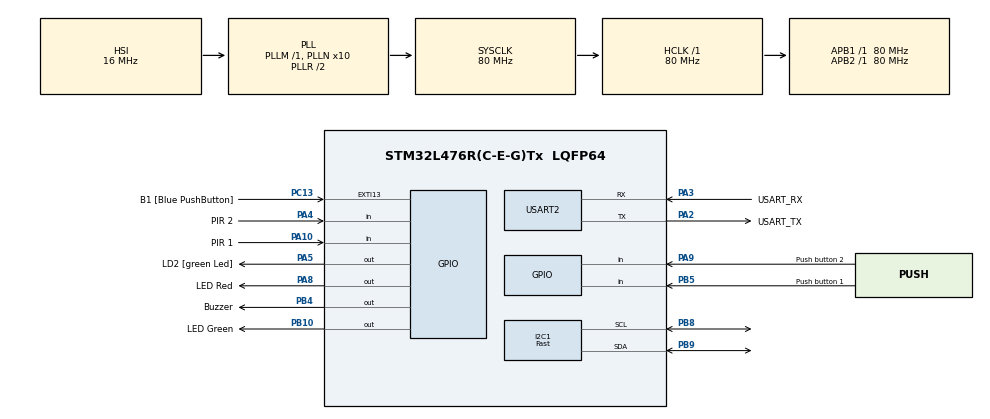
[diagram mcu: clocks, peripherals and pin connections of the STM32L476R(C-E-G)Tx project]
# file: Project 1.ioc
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I2C1.I2C_Speed_Mode=I2C_Fast
I2C1.Timing=0x00F12981
Mcu.Family=STM32L4
Mcu.Name=STM32L476R(C-E-G)Tx
Mcu.Package=LQFP64
NVIC.PriorityGroup=NVIC_PRIORITYGROUP_4
PA10.GPIO_Label=PIR 1
PA10.Signal=GPIO_Input
PA13\ (JTMS-SWDIO).GPIO_Label=TMS
PA13\ (JTMS-SWDIO).Mode=Serial_Wire
PA13\ (JTMS-SWDIO).Signal=SYS_JTMS-SWDIO
PA14\ (JTCK-SWCLK).GPIO_Label=TCK
PA14\ (JTCK-SWCLK).Mode=Serial_Wire
PA14\ (JTCK-SWCLK).Signal=SYS_JTCK-SWCLK
PA2.GPIO_Label=USART_TX
PA2.GPIO_Mode=GPIO_MODE_AF_PP
PA2.GPIO_PuPd=GPIO_NOPULL
PA2.GPIO_Speed=GPIO_SPEED_FREQ_VERY_HIGH
PA2.Mode=Asynchronous
PA2.Signal=USART2_TX
PA3.GPIO_Label=USART_RX
PA3.GPIO_Mode=GPIO_MODE_AF_PP
PA3.GPIO_PuPd=GPIO_NOPULL
PA3.GPIO_Speed=GPIO_SPEED_FREQ_VERY_HIGH
PA3.Mode=Asynchronous
PA3.Signal=USART2_RX
PA4.GPIO_Label=PIR 2
PA4.Signal=GPIO_Input
PA5.GPIO_Label=LD2 [green Led]
PA5.GPIO_ModeDefaultOutputPP=GPIO_MODE_OUTPUT_PP
PA5.GPIO_PuPd=GPIO_NOPULL
PA5.GPIO_Speed=GPIO_SPEED_FREQ_LOW
PA5.Signal=GPIO_Output
PA8.GPIO_Label=LED Red
PA8.Signal=GPIO_Output
PA9.GPIO_Label=Push button 2
PA9.GPIO_PuPd=GPIO_PULLUP
PA9.Signal=GPIO_Input
PB10.GPIO_Label=LED Green
PB10.Signal=GPIO_Output
PB3\ (JTDO-TRACESWO).GPIO_Label=SWO
PB3\ (JTDO-TRACESWO).Signal=SYS_JTDO-SWO
PB4\ (NJTRST).GPIO_Label=Buzzer
PB4\ (NJTRST).Signal=GPIO_Output
PB5.GPIO_Label=Push button 1
PB5.GPIO_PuPd=GPIO_PULLUP
PB5.Signal=GPIO_Input
PB8.GPIO_Pu=GPIO_NOPULL
PB8.Mode=I2C
PB8.Signal=I2C1_SCL
PB9.GPIO_Pu=GPIO_NOPULL
PB9.Mode=I2C
PB9.Signal=I2C1_SDA
PC13.GPIO_Label=B1 [Blue PushButton]
PC13.GPIO_ModeDefaultEXTI=GPIO_MODE_IT_FALLING
PC13.GPIO_PuPd=GPIO_NOPULL
PC13.Signal=GPXTI13
PC14-OSC32_IN\ (PC14).Mode=LSE-External-Oscillator
PC14-OSC32_IN\ (PC14).Signal=RCC_OSC32_IN
PC15-OSC32_OUT\ (PC15).Mode=LSE-External-Oscillator
PC15-OSC32_OUT\ (PC15).Signal=RCC_OSC32_OUT
PH0-OSC_IN\ (PH0).Signal=RCC_OSC_IN
PH1-OSC_OUT\ (PH1).Signal=RCC_OSC_OUT
ProjectManager.HeapSize=0x800
ProjectManager.StackSize=0x800
ProjectManager.TargetToolchain=STM32CubeIDE
RCC.ADCFreq_Value=64000000
RCC.AHBFreq_Value=80000000
RCC.APB1Freq_Value=80000000
RCC.APB1TimFreq_Value=80000000
RCC.APB2Freq_Value=80000000
RCC.APB2TimFreq_Value=80000000
RCC.CortexFreq_Value=80000000
RCC.HCLKFreq_Value=80000000
RCC.HSE_VALUE=8000000
RCC.HSI_VALUE=16000000
RCC.MSI_VALUE=4000000
RCC.PLLN=10
RCC.PLLSourceVirtual=RCC_PLLSOURCE_HSI
RCC.PREFETCH_ENABLE=1
RCC.SYSCLKFreq_VALUE=80000000
RCC.SYSCLKSource=RCC_SYSCLKSOURCE_PLLCLK
RCC.USBFreq_Value=64000000
RCC.VCOOutputFreq_Value=160000000
STMicroelectronics.X-CUBE-AI.10.2.1.ActivationBufferSizeList=2976
STMicroelectronics.X-CUBE-AI.10.2.1.ActivationBuffers=pool0
STMicroelectronics.X-CUBE-AI.10.2.1.ActivationNames=pool0
STMicroelectronics.X-CUBE-AI.10.2.1.ActivationSizes=AI_OCCUPANCY_DATA_ACTIVATION_1_SIZE
STMicroelectronics.X-CUBE-AI.10.2.1.HeapSize=0x800
STMicroelectronics.X-CUBE-AI.10.2.1.InternalRamActivationBufferMaxSize=AI_OCCUPANCY_DATA_ACTIVATIONS_SIZE
STMicroelectronics.X-CUBE-AI.10.2.1.LatestDirectoryUsed-587ef9316ffbed306acb7bd502fa25060ccb2c07ce6393c6c464ef871020cd62=C\:\\Users\\ahmed\\Downloads\\VeCAD project AHMED\\ai_module\\tensorflow_occupancy\\artifacts_pir_v2
STMicroelectronics.X-CUBE-AI.10.2.1.MaximumNumberOfInputLayer=1
STMicroelectronics.X-CUBE-AI.10.2.1.MaximumNumberOfOutputLayer=1
STMicroelectronics.X-CUBE-AI.10.2.1.MaximumSizeOfInputLayer=1
STMicroelectronics.X-CUBE-AI.10.2.1.MaximumSizeOfOutputLayer=1
STMicroelectronics.X-CUBE-AI.10.2.1.ModelActualCompression-587ef9316ffbed306acb7bd502fa25060ccb2c07ce6393c6c464ef871020cd62=0.0
STMicroelectronics.X-CUBE-AI.10.2.1.ModelCompression-587ef9316ffbed306acb7bd502fa25060ccb2c07ce6393c6c464ef871020cd62=None
STMicroelectronics.X-CUBE-AI.10.2.1.ModelFlashOccupation-587ef9316ffbed306acb7bd502fa25060ccb2c07ce6393c6c464ef871020cd62=13928
STMicroelectronics.X-CUBE-AI.10.2.1.ModelHashList=587ef9316ffbed306acb7bd502fa25060ccb2c07ce6393c6c464ef871020cd62
STMicroelectronics.X-CUBE-AI.10.2.1.ModelKind-587ef9316ffbed306acb7bd502fa25060ccb2c07ce6393c6c464ef871020cd62=TFLITE
STMicroelectronics.X-CUBE-AI.10.2.1.ModelMacc-587ef9316ffbed306acb7bd502fa25060ccb2c07ce6393c6c464ef871020cd62=320
STMicroelectronics.X-CUBE-AI.10.2.1.ModelName-587ef9316ffbed306acb7bd502fa25060ccb2c07ce6393c6c464ef871020cd62=occupancy
STMicroelectronics.X-CUBE-AI.10.2.1.ModelNameList=occupancy
STMicroelectronics.X-CUBE-AI.10.2.1.ModelRamOccupation-587ef9316ffbed306acb7bd502fa25060ccb2c07ce6393c6c464ef871020cd62=2976
STMicroelectronics.X-CUBE-AI.10.2.1.ModelStructureFile-587ef9316ffbed306acb7bd502fa25060ccb2c07ce6393c6c464ef871020cd62=C\:\\Users\\ahmed\\Downloads\\VeCAD project AHMED\\ai_module\\tensorflow_occupancy\\artifacts_pir_v2\\occupancy_model_int8.tflite
STMicroelectronics.X-CUBE-AI.10.2.1.ModelType-587ef9316ffbed306acb7bd502fa25060ccb2c07ce6393c6c464ef871020cd62=STM32Cube.AI MCU runtime
STMicroelectronics.X-CUBE-AI.10.2.1.ReadyForCodeGeneration=true
STMicroelectronics.X-CUBE-AI.10.2.1.StackSize=0x800
STMicroelectronics.X-CUBE-AI.10.2.1.WorkingBufferStartAddrList=0xFFFFFFFF
STMicroelectronics.X-CUBE-AI.10.2.1.XAaCUBEAaAICcArtificialOoIntelligenceJjCore=true
STMicroelectronics.X-CUBE-AI.10.2.1.copyWeightToRam=false
STMicroelectronics.X-CUBE-AI.10.2.1.customLayerConfigEnabled=false
STMicroelectronics.X-CUBE-AI.10.2.1.noOnnxIoTranspose=false
STMicroelectronics.X-CUBE-AI.10.2.1.useInputAllocation=true
STMicroelectronics.X-CUBE-AI.10.2.1.useOutputAllocation=true
USART2.VirtualMode-Asynchronous=VM_ASYNC
VP_STMicroelectronics.X-CUBE-AI_VS_ArtificialOoIntelligenceJjXAaCUBEAaAI_10.2.1.Mode=ArtificialOoIntelligenceJjXAaCUBEAaAI
board=NUCLEO-L476RG

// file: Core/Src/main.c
/* USER CODE BEGIN Header */
/**
  ******************************************************************************
  * @file           : main.c
  * @brief          : Synchronized occupancy data collection firmware
  *
  * Sensors: 2x PIR, VL53L0X, BME280, BH1750, SSD1306 OLED
  * Controls: 2 buttons, red/green LEDs, LD2, active buzzer
  * Output: one DATA CSV record per second over USB UART or optional HC-06
  ******************************************************************************
  */
/* USER CODE END Header */
#include "main.h"
#include "i2c.h"
#include "usart.h"
#include "gpio.h"

/* USER CODE BEGIN Includes */
#include <stdio.h>
#include <string.h>
#include "./BME280/bme280.h"
#include "fonts.h"
#include "ssd1306.h"
#include "vl53l0x_api.h"
#include "occupancy_features.h"
#include "occupancy_ai.h"
/* USER CODE END Includes */

/* USER CODE BEGIN PTD */
typedef enum
{
  LABEL_EMPTY = 0,
  LABEL_LOW,
  LABEL_HIGH
} OccupancyLabel_t;

typedef struct
{
  GPIO_PinState raw_state;
  GPIO_PinState stable_state;
  uint32_t change_time_ms;
} ButtonDebounce_t;
/* USER CODE END PTD */

/* USER CODE BEGIN PD */
/* Keep this 0 for the current ST-LINK USB serial connection (USART2, 115200).
   Change to 1 only after CubeMX has generated USART1 for HC-06 at 9600 baud. */
#define DATA_LINK_USE_HC06         0U

#if DATA_LINK_USE_HC06
#define DATA_UART_HANDLE           huart1
#else
#define DATA_UART_HANDLE           huart2
#endif

#define SAMPLE_INTERVAL_MS         1000U
#define BUTTON_DEBOUNCE_MS         35U
#define PIR_WARMUP_MS              60000U
#define PIR_FILTER_READS           7U

/* Sensor-fusion limits. Tune these values after tests in the final room. */
#define TOF_PRESENCE_MIN_MM        50U
#define TOF_PRESENCE_MAX_MM        850U
#define TOF_PRESENCE_HOLD_MS       10000U
#define LIGHT_HIGH_LUX_X10         1000U  /* 100.0 lux */
#define LIGHT_ALERT_CONFIRM_S      15U
#define EMPTY_COOL_TEMPERATURE_C   28.0f
#define AC_ALERT_CONFIRM_S         30U

#define ALERT_LIGHT_EMPTY          (1U << 0)
#define ALERT_COOL_EMPTY           (1U << 1)

#define VL53L0X_ADDRESS_HAL        (0x29U << 1)

#define BH1750_ADDR_LOW            0x23U
#define BH1750_ADDR_HIGH           0x5CU
#define BH1750_POWER_ON            0x01U
#define BH1750_RESET               0x07U
#define BH1750_CONT_HIGH_RES_MODE  0x10U

/* Tested module behavior: PB4 LOW = sound, PB4 HIGH = silent. */
#define BUZZER_ACTIVE_LEVEL        GPIO_PIN_RESET
#define BUZZER_INACTIVE_LEVEL      GPIO_PIN_SET
/* USER CODE END PD */

/* USER CODE BEGIN PV */
char tx_text[300];
char oled_text[32];

GPIO_PinState pir1_state;
GPIO_PinState pir2_state;
uint32_t pir_start_time_ms;

struct bme280_dev bme_device;
struct bme280_data bme_data;
int8_t bme_status;
uint8_t bme_initialized;
uint8_t bme_read_ok;
float temperature_c;
float humidity_percent;
float pressure_hpa;

VL53L0X_Dev_t tof_device;
VL53L0X_RangingMeasurementData_t tof_measurement;
VL53L0X_Error tof_api_status;
uint32_t tof_ref_spad_count;
uint8_t tof_is_aperture_spads;
uint8_t tof_vhv_settings;
uint8_t tof_phase_cal;
uint8_t tof_initialized;
uint16_t tof_distance_mm;
uint8_t tof_range_status = 255U;

uint16_t bh1750_addr_hal;
uint8_t bh1750_addr_7bit;
uint8_t bh1750_initialized;
uint8_t bh1750_read_ok;
uint16_t bh1750_raw;
uint32_t light_lux_x10;

OccupancyLabel_t selected_label = LABEL_EMPTY;
uint8_t logging_enabled;
uint32_t session_number;
uint32_t sample_sequence;
uint32_t last_sample_time_ms;

ButtonDebounce_t button1;
ButtonDebounce_t button2;

uint8_t buzzer_beeps_remaining;
uint8_t buzzer_phase_on;
uint32_t buzzer_next_time_ms;
uint32_t activity_led_restore_time_ms;

OccupancyFeatureBuffer ai_feature_buffer;
float ai_features[OCCUPANCY_FEATURE_COUNT];
float ai_normalized[OCCUPANCY_FEATURE_COUNT];
int8_t ai_input[OCCUPANCY_FEATURE_COUNT];
int8_t ai_output[OCCUPANCY_CLASS_COUNT];
OccupancyClass ai_predicted_class = OCCUPANCY_EMPTY;
uint8_t ai_ready;
uint8_t ai_prediction_valid;
uint8_t ai_confidence_percent;

OccupancyClass fused_occupancy_class = OCCUPANCY_EMPTY;
uint8_t fused_occupancy_valid;
uint8_t tof_presence_detected;
uint32_t tof_presence_hold_until_ms;
uint8_t last_reported_fused_class = 255U;
uint8_t last_reported_tof_presence = 255U;

uint8_t system_alert_flags;
uint16_t light_alert_counter;
uint16_t cool_empty_alert_counter;
/* USER CODE END PV */

void SystemClock_Config(void);
/* USER CODE BEGIN PFP */
void Link_Print(const char *message);
void Link_SendHelp(void);
void Link_ProcessCommands(void);
void I2C_Scan(void);

int8_t BME_I2C_Read(uint8_t id, uint8_t reg, uint8_t *data, uint16_t len);
int8_t BME_I2C_Write(uint8_t id, uint8_t reg, uint8_t *data, uint16_t len);
void BME_DelayMs(uint32_t period);
uint8_t BME_Init(void);
uint8_t BME_Read(void);

VL53L0X_Error TOF_Init(void);
uint8_t TOF_Read(void);

HAL_StatusTypeDef BH1750_DetectAddress(void);
HAL_StatusTypeDef BH1750_WriteCommand(uint8_t command);
uint8_t BH1750_Init(void);
uint8_t BH1750_Read(void);

const char *Label_Name(OccupancyLabel_t label);
void Label_Select(OccupancyLabel_t label);
void Outputs_SetForLabel(OccupancyLabel_t label);
uint8_t Hardware_Ready(void);
void Logging_Start(void);
void Logging_Stop(void);

void Buzzer_Pattern(uint8_t beep_count);
void Buzzer_Update(void);
void Activity_LED_Pulse(void);
void Activity_LED_Update(void);

void Buttons_Init(void);
uint8_t Button_Pressed(ButtonDebounce_t *button,
                       GPIO_TypeDef *port,
                       uint16_t pin);
void Buttons_Update(void);

void OLED_WriteLine(uint8_t y, const char *text);
void Display_Update(void);
GPIO_PinState PIR_ReadFiltered(GPIO_TypeDef *port, uint16_t pin);
void Sample_AllSensors(void);
void AI_Update(void);
void SensorFusion_Update(void);
void SystemAlerts_Update(void);
void Output_DataRow(void);
/* USER CODE END PFP */

/* USER CODE BEGIN 0 */
void Link_Print(const char *message)
{
  HAL_UART_Transmit(&DATA_UART_HANDLE,
                    (uint8_t *)message,
                    (uint16_t)strlen(message),
                    HAL_MAX_DELAY);
}

void Link_SendHelp(void)
{
  Link_Print("COMMANDS,E=EMPTY,L=LOW,H=HIGH,S=START,X=STOP,?=STATUS\r\n");
  snprintf(tx_text,
           sizeof(tx_text),
           "STATUS,label=%s,logging=%u,session=%lu,bme=%u,tof=%u,bh1750=%u\r\n",
           Label_Name(selected_label),
           (unsigned int)logging_enabled,
           (unsigned long)session_number,
           (unsigned int)bme_initialized,
           (unsigned int)tof_initialized,
           (unsigned int)bh1750_initialized);
  Link_Print(tx_text);
}

void Link_ProcessCommands(void)
{
  uint8_t byte;

  if (HAL_UART_Receive(&DATA_UART_HANDLE, &byte, 1U, 0U) != HAL_OK)
  {
    return;
  }

  if ((byte >= 'a') && (byte <= 'z'))
  {
    byte = (uint8_t)(byte - ('a' - 'A'));
  }

  switch (byte)
  {
    case 'E': Label_Select(LABEL_EMPTY); break;
    case 'L': Label_Select(LABEL_LOW);   break;
    case 'H': Label_Select(LABEL_HIGH);  break;
    case 'S': Logging_Start();           break;
    case 'X': Logging_Stop();            break;
    case '?': Link_SendHelp();            break;
    default:                              break;
  }
}

void I2C_Scan(void)
{
  uint8_t address;
  uint8_t count = 0U;

  Link_Print("I2C_SCAN,BEGIN\r\n");
  for (address = 0x08U; address <= 0x77U; address++)
  {
    if (HAL_I2C_IsDeviceReady(&hi2c1,
                              (uint16_t)(address << 1),
                              2U,
                              20U) == HAL_OK)
    {
      snprintf(tx_text,
               sizeof(tx_text),
               "I2C_DEVICE,0x%02X\r\n",
               (unsigned int)address);
      Link_Print(tx_text);
      count++;
    }
  }
  snprintf(tx_text,
           sizeof(tx_text),
           "I2C_SCAN,END,count=%u\r\n",
           (unsigned int)count);
  Link_Print(tx_text);
}

int8_t BME_I2C_Read(uint8_t id, uint8_t reg, uint8_t *data, uint16_t len)
{
  return (HAL_I2C_Mem_Read(&hi2c1,
                           (uint16_t)(id << 1),
                           reg,
                           I2C_MEMADD_SIZE_8BIT,
                           data,
                           len,
                           100U) == HAL_OK) ? 0 : -1;
}

int8_t BME_I2C_Write(uint8_t id, uint8_t reg, uint8_t *data, uint16_t len)
{
  return (HAL_I2C_Mem_Write(&hi2c1,
                            (uint16_t)(id << 1),
                            reg,
                            I2C_MEMADD_SIZE_8BIT,
                            data,
                            len,
                            100U) == HAL_OK) ? 0 : -1;
}

void BME_DelayMs(uint32_t period)
{
  HAL_Delay(period);
}

uint8_t BME_Init(void)
{
  uint8_t address;

  if (HAL_I2C_IsDeviceReady(&hi2c1, (uint16_t)(0x76U << 1), 3U, 100U) == HAL_OK)
  {
    address = 0x76U;
  }
  else if (HAL_I2C_IsDeviceReady(&hi2c1,
                                 (uint16_t)(0x77U << 1),
                                 3U,
                                 100U) == HAL_OK)
  {
    address = 0x77U;
  }
  else
  {
    Link_Print("ERROR,BME280_NOT_FOUND\r\n");
    return 0U;
  }

  memset(&bme_device, 0, sizeof(bme_device));
  bme_device.dev_id = address;
  bme_device.intf = BME280_I2C_INTF;
  bme_device.read = BME_I2C_Read;
  bme_device.write = BME_I2C_Write;
  bme_device.delay_ms = BME_DelayMs;

  bme_status = bme280_init(&bme_device);
  if (bme_status != BME280_OK) return 0U;

  bme_device.settings.osr_h = BME280_OVERSAMPLING_1X;
  bme_device.settings.osr_p = BME280_OVERSAMPLING_16X;
  bme_device.settings.osr_t = BME280_OVERSAMPLING_2X;
  bme_device.settings.filter = BME280_FILTER_COEFF_16;

  bme_status = bme280_set_sensor_settings(
      BME280_OSR_PRESS_SEL | BME280_OSR_TEMP_SEL |
      BME280_OSR_HUM_SEL | BME280_FILTER_SEL,
      &bme_device);
  if (bme_status != BME280_OK) return 0U;

  snprintf(tx_text,
           sizeof(tx_text),
           "READY,BME280,0x%02X\r\n",
           (unsigned int)address);
  Link_Print(tx_text);
  return 1U;
}

uint8_t BME_Read(void)
{
  if (bme_initialized == 0U) return 0U;
  if (bme280_set_sensor_mode(BME280_FORCED_MODE, &bme_device) != BME280_OK)
  {
    return 0U;
  }
  HAL_Delay(40U);
  if (bme280_get_sensor_data(BME280_ALL, &bme_data, &bme_device) != BME280_OK)
  {
    return 0U;
  }

  temperature_c = bme_data.temperature / 100.0f;
  humidity_percent = bme_data.humidity / 1024.0f;
  pressure_hpa = bme_data.pressure / 10000.0f;
  return 1U;
}

VL53L0X_Error TOF_Init(void)
{
  VL53L0X_Error status;

  if (HAL_I2C_IsDeviceReady(&hi2c1, VL53L0X_ADDRESS_HAL, 3U, 100U) != HAL_OK)
  {
    Link_Print("ERROR,VL53L0X_NOT_FOUND\r\n");
    return VL53L0X_ERROR_CONTROL_INTERFACE;
  }

  memset(&tof_device, 0, sizeof(tof_device));
  tof_device.I2cDevAddr = VL53L0X_ADDRESS_HAL;

  status = VL53L0X_DataInit(&tof_device);
  if (status != VL53L0X_ERROR_NONE) return status;
  status = VL53L0X_StaticInit(&tof_device);
  if (status != VL53L0X_ERROR_NONE) return status;
  status = VL53L0X_PerformRefSpadManagement(&tof_device,
                                             &tof_ref_spad_count,
                                             &tof_is_aperture_spads);
  if (status != VL53L0X_ERROR_NONE) return status;
  status = VL53L0X_PerformRefCalibration(&tof_device,
                                          &tof_vhv_settings,
                                          &tof_phase_cal);
  if (status != VL53L0X_ERROR_NONE) return status;
  status = VL53L0X_SetDeviceMode(&tof_device, VL53L0X_DEVICEMODE_SINGLE_RANGING);
  if (status != VL53L0X_ERROR_NONE) return status;
  status = VL53L0X_SetLimitCheckValue(
      &tof_device,
      VL53L0X_CHECKENABLE_SIGNAL_RATE_FINAL_RANGE,
      (FixPoint1616_t)16384U); /* 0.25 MCps */
  if (status != VL53L0X_ERROR_NONE) return status;
  status = VL53L0X_SetLimitCheckValue(
      &tof_device,
      VL53L0X_CHECKENABLE_SIGMA_FINAL_RANGE,
      (FixPoint1616_t)1179648U); /* 18 mm */
  if (status != VL53L0X_ERROR_NONE) return status;
  status = VL53L0X_SetMeasurementTimingBudgetMicroSeconds(&tof_device, 200000U);
  return status;
}

uint8_t TOF_Read(void)
{
  if (tof_initialized == 0U)
  {
    tof_distance_mm = 0U;
    tof_range_status = 255U;
    return 0U;
  }

  tof_api_status = VL53L0X_PerformSingleRangingMeasurement(&tof_device,
                                                            &tof_measurement);
  if (tof_api_status != VL53L0X_ERROR_NONE)
  {
    tof_distance_mm = 0U;
    tof_range_status = 255U;
    return 0U;
  }

  tof_distance_mm = tof_measurement.RangeMilliMeter;
  tof_range_status = tof_measurement.RangeStatus;
  return (tof_range_status == 0U) ? 1U : 0U;
}

HAL_StatusTypeDef BH1750_DetectAddress(void)
{
  if (HAL_I2C_IsDeviceReady(&hi2c1,
                            (uint16_t)(BH1750_ADDR_LOW << 1),
                            3U,
                            100U) == HAL_OK)
  {
    bh1750_addr_7bit = BH1750_ADDR_LOW;
  }
  else if (HAL_I2C_IsDeviceReady(&hi2c1,
                                 (uint16_t)(BH1750_ADDR_HIGH << 1),
                                 3U,
                                 100U) == HAL_OK)
  {
    bh1750_addr_7bit = BH1750_ADDR_HIGH;
  }
  else
  {
    bh1750_addr_hal = 0U;
    return HAL_ERROR;
  }

  bh1750_addr_hal = (uint16_t)(bh1750_addr_7bit << 1);
  return HAL_OK;
}

HAL_StatusTypeDef BH1750_WriteCommand(uint8_t command)
{
  if (bh1750_addr_hal == 0U) return HAL_ERROR;
  return HAL_I2C_Master_Transmit(&hi2c1,
                                 bh1750_addr_hal,
                                 &command,
                                 1U,
                                 100U);
}

uint8_t BH1750_Init(void)
{
  if (BH1750_DetectAddress() != HAL_OK)
  {
    Link_Print("ERROR,BH1750_NOT_FOUND\r\n");
    return 0U;
  }
  if (BH1750_WriteCommand(BH1750_POWER_ON) != HAL_OK) return 0U;
  HAL_Delay(10U);
  if (BH1750_WriteCommand(BH1750_RESET) != HAL_OK) return 0U;
  HAL_Delay(10U);
  if (BH1750_WriteCommand(BH1750_CONT_HIGH_RES_MODE) != HAL_OK) return 0U;
  HAL_Delay(180U);

  snprintf(tx_text,
           sizeof(tx_text),
           "READY,BH1750,0x%02X\r\n",
           (unsigned int)bh1750_addr_7bit);
  Link_Print(tx_text);
  return 1U;
}

uint8_t BH1750_Read(void)
{
  uint8_t data[2];

  if (bh1750_initialized == 0U) return 0U;
  if (HAL_I2C_Master_Receive(&hi2c1,
                             bh1750_addr_hal,
                             data,
                             2U,
                             100U) != HAL_OK)
  {
    return 0U;
  }

  bh1750_raw = ((uint16_t)data[0] << 8) | data[1];
  light_lux_x10 = (((uint32_t)bh1750_raw * 100U) + 6U) / 12U;
  return 1U;
}

const char *Label_Name(OccupancyLabel_t label)
{
  switch (label)
  {
    case LABEL_EMPTY: return "EMPTY";
    case LABEL_LOW:   return "LOW";
    case LABEL_HIGH:  return "HIGH";
    default:          return "UNKNOWN";
  }
}

void Outputs_SetForLabel(OccupancyLabel_t label)
{
  HAL_GPIO_WritePin(LED_Green_GPIO_Port,
                    LED_Green_Pin,
                    (label != LABEL_HIGH) ? GPIO_PIN_SET : GPIO_PIN_RESET);
  HAL_GPIO_WritePin(LED_Red_GPIO_Port,
                    LED_Red_Pin,
                    (label != LABEL_EMPTY) ? GPIO_PIN_SET : GPIO_PIN_RESET);
}

void Label_Select(OccupancyLabel_t label)
{
  if (logging_enabled != 0U)
  {
    Link_Print("EVENT,REJECTED,LABEL_LOCKED_WHILE_LOGGING\r\n");
    Buzzer_Pattern(3U);
    return;
  }

  selected_label = label;
  Outputs_SetForLabel(label);
  snprintf(tx_text, sizeof(tx_text), "EVENT,LABEL,%s\r\n", Label_Name(label));
  Link_Print(tx_text);
  Buzzer_Pattern(1U);
}

uint8_t Hardware_Ready(void)
{
  return ((bme_initialized != 0U) &&
          (tof_initialized != 0U) &&
          (bh1750_initialized != 0U)) ? 1U : 0U;
}

void Logging_Start(void)
{
  if (logging_enabled != 0U) return;

  if ((HAL_GetTick() - pir_start_time_ms) < PIR_WARMUP_MS)
  {
    Link_Print("EVENT,WAIT,PIR_WARMUP_60_SECONDS\r\n");
    Buzzer_Pattern(2U);
    return;
  }

  if (Hardware_Ready() == 0U)
  {
    Link_Print("EVENT,ERROR,HARDWARE_NOT_READY\r\n");
    Buzzer_Pattern(3U);
    return;
  }

  session_number++;
  sample_sequence = 0U;
  logging_enabled = 1U;
  HAL_GPIO_WritePin(LD2_GPIO_Port, LD2_Pin, GPIO_PIN_SET);
  snprintf(tx_text,
           sizeof(tx_text),
           "EVENT,START,SESSION_%03lu,%s\r\n",
           (unsigned long)session_number,
           Label_Name(selected_label));
  Link_Print(tx_text);
  Link_Print("CSV_HEADER,sequence,mcu_time_ms,session_id,pir_1,pir_2,tof_mm,tof_status,temperature_c,humidity_percent,pressure_hpa,light_lux,sample_valid,occupancy_label\r\n");
  last_sample_time_ms = HAL_GetTick() - SAMPLE_INTERVAL_MS;
  Buzzer_Pattern(1U);
}

void Logging_Stop(void)
{
  if (logging_enabled == 0U) return;
  logging_enabled = 0U;
  activity_led_restore_time_ms = 0U;
  HAL_GPIO_WritePin(LD2_GPIO_Port, LD2_Pin, GPIO_PIN_RESET);
  snprintf(tx_text,
           sizeof(tx_text),
           "EVENT,STOP,SESSION_%03lu,rows=%lu\r\n",
           (unsigned long)session_number,
           (unsigned long)sample_sequence);
  Link_Print(tx_text);
  Buzzer_Pattern(2U);
}

void Buzzer_Pattern(uint8_t beep_count)
{
  HAL_GPIO_WritePin(Buzzer_GPIO_Port, Buzzer_Pin, BUZZER_INACTIVE_LEVEL);
  buzzer_beeps_remaining = beep_count;
  buzzer_phase_on = 0U;
  buzzer_next_time_ms = HAL_GetTick();
}

void Buzzer_Update(void)
{
  /* Keep the active buzzer ON while any energy-saving alert is active. */
  if (system_alert_flags != 0U)
  {
    HAL_GPIO_WritePin(Buzzer_GPIO_Port, Buzzer_Pin, BUZZER_ACTIVE_LEVEL);
    buzzer_beeps_remaining = 0U;
    buzzer_phase_on = 1U;
    return;
  }

  if ((int32_t)(HAL_GetTick() - buzzer_next_time_ms) < 0) return;

  if (buzzer_phase_on != 0U)
  {
    HAL_GPIO_WritePin(Buzzer_GPIO_Port, Buzzer_Pin, BUZZER_INACTIVE_LEVEL);
    buzzer_phase_on = 0U;
    buzzer_next_time_ms = HAL_GetTick() + 90U;
  }
  else if (buzzer_beeps_remaining != 0U)
  {
    HAL_GPIO_WritePin(Buzzer_GPIO_Port, Buzzer_Pin, BUZZER_ACTIVE_LEVEL);
    buzzer_phase_on = 1U;
    buzzer_beeps_remaining--;
    buzzer_next_time_ms = HAL_GetTick() + 80U;
  }
}

void Activity_LED_Pulse(void)
{
  if (logging_enabled != 0U)
  {
    HAL_GPIO_WritePin(LD2_GPIO_Port, LD2_Pin, GPIO_PIN_RESET);
    activity_led_restore_time_ms = HAL_GetTick() + 60U;
  }
}

void Activity_LED_Update(void)
{
  if ((logging_enabled != 0U) &&
      (activity_led_restore_time_ms != 0U) &&
      ((int32_t)(HAL_GetTick() - activity_led_restore_time_ms) >= 0))
  {
    HAL_GPIO_WritePin(LD2_GPIO_Port, LD2_Pin, GPIO_PIN_SET);
    activity_led_restore_time_ms = 0U;
  }
}

void Buttons_Init(void)
{
  button1.raw_state = HAL_GPIO_ReadPin(Push_button_1_GPIO_Port,
                                       Push_button_1_Pin);
  button1.stable_state = button1.raw_state;
  button1.change_time_ms = HAL_GetTick();
  button2.raw_state = HAL_GPIO_ReadPin(Push_button_2_GPIO_Port,
                                       Push_button_2_Pin);
  button2.stable_state = button2.raw_state;
  button2.change_time_ms = HAL_GetTick();
}

uint8_t Button_Pressed(ButtonDebounce_t *button,
                       GPIO_TypeDef *port,
                       uint16_t pin)
{
  GPIO_PinState new_state = HAL_GPIO_ReadPin(port, pin);

  if (new_state != button->raw_state)
  {
    button->raw_state = new_state;
    button->change_time_ms = HAL_GetTick();
  }
  if (((HAL_GetTick() - button->change_time_ms) >= BUTTON_DEBOUNCE_MS) &&
      (button->stable_state != button->raw_state))
  {
    button->stable_state = button->raw_state;
    if (button->stable_state == GPIO_PIN_RESET) return 1U;
  }
  return 0U;
}

void Buttons_Update(void)
{
  if (Button_Pressed(&button1,
                     Push_button_1_GPIO_Port,
                     Push_button_1_Pin) != 0U)
  {
    Label_Select((OccupancyLabel_t)(((uint8_t)selected_label + 1U) % 3U));
  }
  if (Button_Pressed(&button2,
                     Push_button_2_GPIO_Port,
                     Push_button_2_Pin) != 0U)
  {
    if (logging_enabled != 0U) Logging_Stop();
    else Logging_Start();
  }
}

void OLED_WriteLine(uint8_t y, const char *text)
{
  char padded[19];
  snprintf(padded, sizeof(padded), "%-18.18s", text);
  SSD1306_GotoXY(0U, y);
  SSD1306_Puts(padded, &Font_7x10, 1U);
}

void Display_Update(void)
{
  SSD1306_Fill(SSD1306_COLOR_BLACK);

  snprintf(oled_text,
           sizeof(oled_text),
           "T:%4.1f H:%4.1f",
           temperature_c,
           humidity_percent);
  OLED_WriteLine(0U, oled_text);

  snprintf(oled_text,
           sizeof(oled_text),
           "Lux:%lu.%lu",
           (unsigned long)(light_lux_x10 / 10U),
           (unsigned long)(light_lux_x10 % 10U));
  OLED_WriteLine(11U, oled_text);

  snprintf(oled_text,
           sizeof(oled_text),
           "ToF:%u S:%u",
           (unsigned int)tof_distance_mm,
           (unsigned int)tof_range_status);
  OLED_WriteLine(22U, oled_text);

  snprintf(oled_text,
           sizeof(oled_text),
           "PIR:%u/%u Read:%u",
           (pir1_state == GPIO_PIN_SET) ? 1U : 0U,
           (pir2_state == GPIO_PIN_SET) ? 1U : 0U,
           (unsigned int)(bme_read_ok && bh1750_read_ok));
  OLED_WriteLine(33U, oled_text);

  if (ai_ready == 0U)
  {
    snprintf(oled_text, sizeof(oled_text), "AI:INIT ERROR");
  }
  else if (ai_prediction_valid != 0U)
  {
    snprintf(oled_text,
             sizeof(oled_text),
             "AI:%s %u%%",
             Occupancy_ClassName(ai_predicted_class),
             (unsigned int)ai_confidence_percent);
  }
  else
  {
    snprintf(oled_text,
             sizeof(oled_text),
             "AI:WAIT %u/%u",
             (unsigned int)ai_feature_buffer.sample_count,
             (unsigned int)OCCUPANCY_WINDOW_SAMPLES);
  }
  OLED_WriteLine(44U, oled_text);

  if ((system_alert_flags & ALERT_LIGHT_EMPTY) != 0U)
  {
    snprintf(oled_text, sizeof(oled_text), "WARN:LIGHT EMPTY");
  }
  else if ((system_alert_flags & ALERT_COOL_EMPTY) != 0U)
  {
    snprintf(oled_text, sizeof(oled_text), "WARN:CHECK AC");
  }
  else
  {
    snprintf(oled_text,
             sizeof(oled_text),
             "O:%s T:%u",
             (fused_occupancy_valid != 0U)
                 ? Occupancy_ClassName(fused_occupancy_class) : "WAIT",
             (unsigned int)tof_presence_detected);
  }
  OLED_WriteLine(54U, oled_text);
  SSD1306_UpdateScreen();
}

GPIO_PinState PIR_ReadFiltered(GPIO_TypeDef *port, uint16_t pin)
{
  uint8_t high_count = 0U;

  for (uint8_t i = 0U; i < PIR_FILTER_READS; i++)
  {
    if (HAL_GPIO_ReadPin(port, pin) == GPIO_PIN_SET)
    {
      high_count++;
    }

    HAL_Delay(5U);
  }

  return (high_count >= 4U) ? GPIO_PIN_SET : GPIO_PIN_RESET;
}

void Sample_AllSensors(void)
{
  if ((HAL_GetTick() - pir_start_time_ms) < PIR_WARMUP_MS)
  {
    pir1_state = GPIO_PIN_RESET;
    pir2_state = GPIO_PIN_RESET;
  }
  else
  {
    pir1_state = PIR_ReadFiltered(PIR_1_GPIO_Port, PIR_1_Pin);
    pir2_state = PIR_ReadFiltered(PIR_2_GPIO_Port, PIR_2_Pin);
  }

  bme_read_ok = BME_Read();
  (void)TOF_Read();
  bh1750_read_ok = BH1750_Read();
}

void AI_Update(void)
{
  uint8_t pir1;
  uint8_t pir2;
  uint8_t probabilities[OCCUPANCY_CLASS_COUNT];
  uint32_t index;
  float probability;

  if (ai_ready == 0U) return;
  if ((HAL_GetTick() - pir_start_time_ms) < PIR_WARMUP_MS) return;

  pir1 = (pir1_state == GPIO_PIN_SET) ? 1U : 0U;
  pir2 = (pir2_state == GPIO_PIN_SET) ? 1U : 0U;
  if (!OccupancyFeatures_AddSample(&ai_feature_buffer, pir1, pir2)) return;

  OccupancyFeatures_Compute(&ai_feature_buffer, ai_features);
  OccupancyFeatures_Normalize(ai_features, ai_normalized);
  OccupancyFeatures_QuantizeInt8(ai_normalized, ai_input);

  if (!OccupancyAI_Run(ai_input, ai_output))
  {
    ai_prediction_valid = 0U;
    Link_Print("ERROR,AI_RUN\r\n");
    return;
  }

  ai_predicted_class = Occupancy_SelectClassInt8(ai_output);
  for (index = 0U; index < OCCUPANCY_CLASS_COUNT; index++)
  {
    probability = Occupancy_OutputProbability(ai_output[index]);
    if (probability < 0.0f) probability = 0.0f;
    if (probability > 1.0f) probability = 1.0f;
    probabilities[index] = (uint8_t)((probability * 100.0f) + 0.5f);
  }

  ai_confidence_percent = probabilities[(uint32_t)ai_predicted_class];
  ai_prediction_valid = 1U;

  snprintf(tx_text,
           sizeof(tx_text),
           "AI,class=%s,confidence=%u,p_empty=%u,p_low=%u,p_high=%u\r\n",
           Occupancy_ClassName(ai_predicted_class),
           (unsigned int)ai_confidence_percent,
           (unsigned int)probabilities[OCCUPANCY_EMPTY],
           (unsigned int)probabilities[OCCUPANCY_LOW],
           (unsigned int)probabilities[OCCUPANCY_HIGH]);
  Link_Print(tx_text);
}

void SensorFusion_Update(void)
{
  uint32_t now = HAL_GetTick();
  uint8_t tof_valid_now =
      ((tof_initialized != 0U) &&
       (tof_range_status == 0U) &&
       (tof_distance_mm >= TOF_PRESENCE_MIN_MM) &&
       (tof_distance_mm <= TOF_PRESENCE_MAX_MM)) ? 1U : 0U;

  if (tof_valid_now != 0U)
  {
    tof_presence_hold_until_ms = now + TOF_PRESENCE_HOLD_MS;
  }

  tof_presence_detected =
      ((tof_presence_hold_until_ms != 0U) &&
       ((int32_t)(tof_presence_hold_until_ms - now) > 0)) ? 1U : 0U;

  if (ai_prediction_valid != 0U)
  {
    fused_occupancy_class = ai_predicted_class;
    fused_occupancy_valid = 1U;

    /* A valid close ToF target proves at least one object/person is present. */
    if ((tof_presence_detected != 0U) &&
        (fused_occupancy_class == OCCUPANCY_EMPTY))
    {
      fused_occupancy_class = OCCUPANCY_LOW;
    }
  }
  else if (tof_presence_detected != 0U)
  {
    /* ToF can provide an early LOW result while the PIR window is filling. */
    fused_occupancy_class = OCCUPANCY_LOW;
    fused_occupancy_valid = 1U;
  }
  else
  {
    fused_occupancy_valid = 0U;
  }

  if (fused_occupancy_valid != 0U)
  {
    Outputs_SetForLabel((OccupancyLabel_t)fused_occupancy_class);
  }

  if ((last_reported_fused_class != (uint8_t)fused_occupancy_class) ||
      (last_reported_tof_presence != tof_presence_detected))
  {
    snprintf(tx_text,
             sizeof(tx_text),
             "FUSION,class=%s,tof_presence=%u,tof_mm=%u,tof_status=%u\r\n",
             (fused_occupancy_valid != 0U)
                 ? Occupancy_ClassName(fused_occupancy_class) : "WAIT",
             (unsigned int)tof_presence_detected,
             (unsigned int)tof_distance_mm,
             (unsigned int)tof_range_status);
    Link_Print(tx_text);
    last_reported_fused_class = (uint8_t)fused_occupancy_class;
    last_reported_tof_presence = tof_presence_detected;
  }
}

void SystemAlerts_Update(void)
{
  uint8_t new_flags = 0U;
  uint8_t new_alerts;
  uint8_t cleared_alerts;

  if ((fused_occupancy_valid != 0U) &&
      (fused_occupancy_class == OCCUPANCY_EMPTY) &&
      (bh1750_read_ok != 0U) &&
      (light_lux_x10 >= LIGHT_HIGH_LUX_X10))
  {
    if (light_alert_counter < LIGHT_ALERT_CONFIRM_S) light_alert_counter++;
  }
  else
  {
    light_alert_counter = 0U;
  }

  if ((fused_occupancy_valid != 0U) &&
      (fused_occupancy_class == OCCUPANCY_EMPTY) &&
      (bme_read_ok != 0U) &&
      (temperature_c <= EMPTY_COOL_TEMPERATURE_C))
  {
    if (cool_empty_alert_counter < AC_ALERT_CONFIRM_S)
      cool_empty_alert_counter++;
  }
  else
  {
    cool_empty_alert_counter = 0U;
  }

  if (light_alert_counter >= LIGHT_ALERT_CONFIRM_S)
    new_flags |= ALERT_LIGHT_EMPTY;
  if (cool_empty_alert_counter >= AC_ALERT_CONFIRM_S)
    new_flags |= ALERT_COOL_EMPTY;

  new_alerts = (uint8_t)(new_flags & (uint8_t)(~system_alert_flags));
  cleared_alerts = (uint8_t)(system_alert_flags & (uint8_t)(~new_flags));
  system_alert_flags = new_flags;

  if (new_alerts != 0U)
  {
    Buzzer_Pattern(2U);
    if ((new_alerts & ALERT_LIGHT_EMPTY) != 0U)
    {
      snprintf(tx_text,
               sizeof(tx_text),
               "ALERT,LIGHT_HIGH_WHILE_EMPTY,lux=%lu.%lu\r\n",
               (unsigned long)(light_lux_x10 / 10U),
               (unsigned long)(light_lux_x10 % 10U));
      Link_Print(tx_text);
    }
    if ((new_alerts & ALERT_COOL_EMPTY) != 0U)
    {
      snprintf(tx_text,
               sizeof(tx_text),
               "ALERT,COOL_WHILE_EMPTY_CHECK_AC,temp=%.1f\r\n",
               temperature_c);
      Link_Print(tx_text);
    }
  }

  if (cleared_alerts != 0U)
  {
    snprintf(tx_text,
             sizeof(tx_text),
             "ALERT,CLEARED,mask=0x%02X\r\n",
             (unsigned int)cleared_alerts);
    Link_Print(tx_text);
  }
}

void Output_DataRow(void)
{
  unsigned int pir1 = (pir1_state == GPIO_PIN_SET) ? 1U : 0U;
  unsigned int pir2 = (pir2_state == GPIO_PIN_SET) ? 1U : 0U;
  unsigned int sample_valid = (bme_read_ok && bh1750_read_ok) ? 1U : 0U;

  if (logging_enabled == 0U) return;

  sample_sequence++;
  snprintf(tx_text,
           sizeof(tx_text),
           "DATA,%lu,%lu,SESSION_%03lu,%u,%u,%u,%u,%.2f,%.2f,%.2f,%lu.%lu,%u,%s\r\n",
           (unsigned long)sample_sequence,
           (unsigned long)HAL_GetTick(),
           (unsigned long)session_number,
           pir1,
           pir2,
           (unsigned int)tof_distance_mm,
           (unsigned int)tof_range_status,
           temperature_c,
           humidity_percent,
           pressure_hpa,
           (unsigned long)(light_lux_x10 / 10U),
           (unsigned long)(light_lux_x10 % 10U),
           sample_valid,
           Label_Name(selected_label));
  Link_Print(tx_text);
  Activity_LED_Pulse();
}
/* USER CODE END 0 */

int main(void)
{

  /* MCU Configuration--------------------------------------------------------*/

  /* Reset of all peripherals, Initializes the Flash interface and the Systick. */
  HAL_Init();

  /* Configure the system clock */
  SystemClock_Config();

  /* Initialize all configured peripherals */
  MX_GPIO_Init();
  MX_USART2_UART_Init();
  MX_I2C1_Init();
  /* USER CODE BEGIN 2 */
  pir_start_time_ms = HAL_GetTick();
  HAL_GPIO_WritePin(Buzzer_GPIO_Port, Buzzer_Pin, BUZZER_INACTIVE_LEVEL);
  HAL_GPIO_WritePin(LD2_GPIO_Port, LD2_Pin, GPIO_PIN_RESET);
  Outputs_SetForLabel(selected_label);
  Buttons_Init();

  Link_Print("BOOT,OCCUPANCY_DATA_COLLECTOR\r\n");
  I2C_Scan();
  SSD1306_Init();
  SSD1306_Fill(SSD1306_COLOR_BLACK);
  OLED_WriteLine(0U, "System starting");
  SSD1306_UpdateScreen();

  bme_initialized = BME_Init();
  tof_api_status = TOF_Init();
  tof_initialized = (tof_api_status == VL53L0X_ERROR_NONE) ? 1U : 0U;
  if (tof_initialized != 0U) Link_Print("READY,VL53L0X,0x29\r\n");
  bh1750_initialized = BH1750_Init();

  OccupancyFeatures_Init(&ai_feature_buffer);
  ai_ready = OccupancyAI_Init() ? 1U : 0U;
  Link_Print((ai_ready != 0U) ? "READY,AI_OCCUPANCY\r\n"
                             : "ERROR,AI_INIT\r\n");

  Link_SendHelp();
  Buzzer_Pattern((Hardware_Ready() != 0U) ? 1U : 3U);
  last_sample_time_ms = HAL_GetTick() - SAMPLE_INTERVAL_MS;
  /* USER CODE END 2 */

  /* Infinite loop */
  /* USER CODE BEGIN WHILE */
  while (1)
  {
    Link_ProcessCommands();
    Buttons_Update();
    Buzzer_Update();
    Activity_LED_Update();

    if ((HAL_GetTick() - last_sample_time_ms) >= SAMPLE_INTERVAL_MS)
    {
      last_sample_time_ms = HAL_GetTick();
      Sample_AllSensors();
      AI_Update();
      SensorFusion_Update();
      SystemAlerts_Update();
      Display_Update();
      Output_DataRow();
    }

    HAL_Delay(5U);
    /* USER CODE END WHILE */

  }
}

void SystemClock_Config(void)
{
  RCC_OscInitTypeDef RCC_OscInitStruct = {0};
  RCC_ClkInitTypeDef RCC_ClkInitStruct = {0};

  /** Configure the main internal regulator output voltage
  */
  if (HAL_PWREx_ControlVoltageScaling(PWR_REGULATOR_VOLTAGE_SCALE1) != HAL_OK)
  {
    Error_Handler();
  }

  /** Initializes the RCC Oscillators according to the specified parameters
  * in the RCC_OscInitTypeDef structure.
  */
  RCC_OscInitStruct.OscillatorType = RCC_OSCILLATORTYPE_HSI;
  RCC_OscInitStruct.HSIState = RCC_HSI_ON;
  RCC_OscInitStruct.HSICalibrationValue = RCC_HSICALIBRATION_DEFAULT;
  RCC_OscInitStruct.PLL.PLLState = RCC_PLL_ON;
  RCC_OscInitStruct.PLL.PLLSource = RCC_PLLSOURCE_HSI;
  RCC_OscInitStruct.PLL.PLLM = 1;
  RCC_OscInitStruct.PLL.PLLN = 10;
  RCC_OscInitStruct.PLL.PLLP = RCC_PLLP_DIV7;
  RCC_OscInitStruct.PLL.PLLQ = RCC_PLLQ_DIV2;
  RCC_OscInitStruct.PLL.PLLR = RCC_PLLR_DIV2;
  if (HAL_RCC_OscConfig(&RCC_OscInitStruct) != HAL_OK)
  {
    Error_Handler();
  }

  /** Initializes the CPU, AHB and APB buses clocks
  */
  RCC_ClkInitStruct.ClockType = RCC_CLOCKTYPE_HCLK|RCC_CLOCKTYPE_SYSCLK
                              |RCC_CLOCKTYPE_PCLK1|RCC_CLOCKTYPE_PCLK2;
  RCC_ClkInitStruct.SYSCLKSource = RCC_SYSCLKSOURCE_PLLCLK;
  RCC_ClkInitStruct.AHBCLKDivider = RCC_SYSCLK_DIV1;
  RCC_ClkInitStruct.APB1CLKDivider = RCC_HCLK_DIV1;
  RCC_ClkInitStruct.APB2CLKDivider = RCC_HCLK_DIV1;

  if (HAL_RCC_ClockConfig(&RCC_ClkInitStruct, FLASH_LATENCY_4) != HAL_OK)
  {
    Error_Handler();
  }
}

void Error_Handler(void)
{
  __disable_irq();
  while (1)
  {
  }
}
